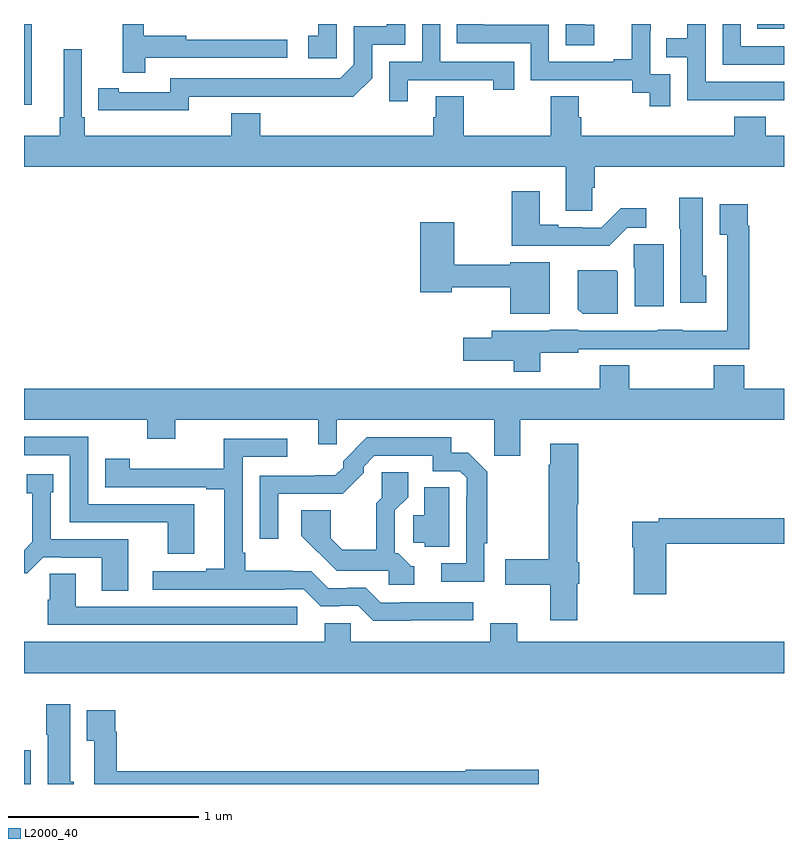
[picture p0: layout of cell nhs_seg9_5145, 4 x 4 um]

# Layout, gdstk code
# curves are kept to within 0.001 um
import gdstk
lib = gdstk.Library(unit=1e-6, precision=1e-09)
def R(c, l, rs):  # rectangles x0, y0, x1, y1
    for r in rs: c.add(gdstk.rectangle(r[:2], r[2:], *l))
def P(c, l, *ps):  # polygons
    for p in ps: c.add(gdstk.Polygon(p, *l))
L2000_40 = (2000, 40)

nhs_seg9_5145 = lib.new_cell('nhs_seg9_5145')
R(nhs_seg9_5145, L2000_40, [(409,1198.5,409.036,1198.677), (409,1202.076,409.042,1202.5), (412.858,1202.474,413,1202.5)])
P(nhs_seg9_5145, L2000_40, [(413,1202.196),(412.587,1202.196),(412.587,1202.5),(412.491,1202.5),(412.491,1202.426),(412.381,1202.426),(412.381,1202.325),(412.491,1202.325),(412.491,1202.1),(412.987,1202.1),(412.987,1202.099),(413,1202.099)],
  [(410.646,1202.5),(410.549,1202.5),(410.549,1202.439),(410.496,1202.439),(410.496,1202.319),(410.646,1202.319)],
  [(412,1202.497),(411.951,1202.497),(411.951,1202.5),(411.852,1202.5),(411.852,1202.388),(412,1202.388)],
  [(411.019,1202.205),(411.47,1202.205),(411.47,1202.154),(411.581,1202.154),(411.581,1202.301),(411.192,1202.301),(411.192,1202.5),(411.096,1202.5),(411.096,1202.301),(410.922,1202.301),(410.922,1202.094),(411.019,1202.094)],
  [(409.866,1202.118),(410.734,1202.117),(410.832,1202.214),(410.832,1202.391),(411.006,1202.391),(411.006,1202.5),(410.909,1202.5),(410.909,1202.487),(410.736,1202.487),(410.736,1202.286),(410.664,1202.214),(409.77,1202.214),(409.77,1202.142),(409.498,1202.142),(409.498,1202.162),(409.39,1202.162),(409.39,1202.046),(409.866,1202.045)],
  [(412.401,1202.235),(412.296,1202.235),(412.296,1202.465),(412.298,1202.465),(412.298,1202.5),(412.199,1202.5),(412.199,1202.314),(412.103,1202.314),(412.103,1202.301),(411.762,1202.301),(411.762,1202.496),(411.417,1202.496),(411.417,1202.5),(411.277,1202.5),(411.277,1202.4),(411.666,1202.4),(411.666,1202.205),(412.2,1202.205),(412.2,1202.137),(412.293,1202.137),(412.293,1202.067),(412.401,1202.067)],
  [(409.637,1202.322),(410.386,1202.322),(410.386,1202.418),(409.853,1202.418),(409.853,1202.438),(409.63,1202.438),(409.63,1202.5),(409.52,1202.5),(409.52,1202.244),(409.637,1202.244)],
  [(413,1202.382),(412.773,1202.382),(412.773,1202.5),(412.677,1202.5),(412.677,1202.286),(413,1202.286)],
  [(411.99,1201.638),(412.004,1201.638),(412.004,1201.748),(413,1201.748),(413,1201.912),(412.904,1201.912),(412.904,1202.011),(412.739,1202.011),(412.739,1201.912),(411.932,1201.912),(411.932,1202.01),(411.919,1202.01),(411.919,1202.12),(411.772,1202.12),(411.772,1201.912),(411.315,1201.912),(411.315,1202.12),(411.167,1202.12),(411.167,1202.01),(411.155,1202.01),(411.155,1201.912),(410.243,1201.912),(410.243,1202.029),(410.09,1202.029),(410.09,1201.912),(409.319,1201.912),(409.319,1202.008),(409.305,1202.008),(409.305,1202.368),(409.208,1202.368),(409.208,1202.008),(409.189,1202.008),(409.189,1201.912),(409,1201.912),(409,1201.748),(411.851,1201.748),(411.851,1201.516),(411.99,1201.516)],
  [(412.176,1201.428),(412.276,1201.428),(412.276,1201.531),(412.141,1201.531),(412.038,1201.428),(411.938,1201.428),(411.938,1201.431),(411.811,1201.431),(411.811,1201.444),(411.715,1201.444),(411.715,1201.621),(411.568,1201.621),(411.568,1201.334),(412.081,1201.334)],
  [(412.591,1201.176),(412.573,1201.176),(412.573,1201.585),(412.448,1201.585),(412.448,1201.422),(412.454,1201.422),(412.454,1201.032),(412.591,1201.032)],
  [(411.718,1200.77),(411.918,1200.77),(411.918,1200.789),(412.335,1200.789),(412.335,1200.788),(412.567,1200.788),(412.567,1200.789),(412.817,1200.789),(412.817,1201.439),(412.81,1201.439),(412.81,1201.552),(412.661,1201.552),(412.661,1201.391),(412.701,1201.391),(412.701,1200.886),(412.467,1200.886),(412.467,1200.892),(412.335,1200.892),(412.335,1200.885),(411.918,1200.885),(411.918,1200.892),(411.768,1200.892),(411.768,1200.886),(411.461,1200.886),(411.461,1200.85),(411.312,1200.85),(411.312,1200.728),(411.577,1200.728),(411.577,1200.671),(411.718,1200.671)],
  [(411.766,1201.246),(411.56,1201.246),(411.56,1201.232),(411.264,1201.232),(411.264,1201.456),(411.086,1201.456),(411.086,1201.088),(411.252,1201.088),(411.252,1201.114),(411.56,1201.114),(411.56,1200.974),(411.766,1200.974)],
  [(412.366,1201.341),(412.21,1201.341),(412.21,1201.218),(412.214,1201.218),(412.214,1201.014),(412.366,1201.014)],
  [(412.126,1201.196),(412.118,1201.204),(411.914,1201.204),(411.914,1201),(411.94,1200.974),(412.126,1200.974)],
  [(411.613,1200.416),(413,1200.416),(413,1200.58),(412.79,1200.58),(412.79,1200.704),(412.63,1200.704),(412.63,1200.58),(412.185,1200.58),(412.185,1200.704),(412.03,1200.704),(412.03,1200.58),(409,1200.58),(409,1200.416),(409.648,1200.416),(409.648,1200.317),(409.795,1200.317),(409.795,1200.416),(410.549,1200.416),(410.549,1200.287),(410.645,1200.287),(410.645,1200.416),(411.475,1200.416),(411.475,1200.228),(411.613,1200.228)],
  [(409.897,1199.973),(409.338,1199.973),(409.338,1200.327),(409,1200.327),(409,1200.231),(409.242,1200.231),(409.242,1199.877),(409.757,1199.877),(409.757,1199.712),(409.897,1199.712)],
  [(411.423,1199.768),(411.438,1199.768),(411.438,1200.144),(411.338,1200.244),(411.249,1200.244),(411.249,1200.324),(410.804,1200.324),(410.679,1200.199),(410.679,1200.165),(410.638,1200.124),(410.241,1200.123),(410.241,1199.79),(410.337,1199.79),(410.337,1200.027),(410.677,1200.027),(410.787,1200.137),(410.787,1200.171),(410.844,1200.228),(411.15,1200.228),(411.15,1200.147),(411.294,1200.147),(411.33,1200.111),(411.33,1200.011),(411.327,1200.011),(411.327,1199.661),(411.195,1199.661),(411.195,1199.565),(411.423,1199.565)],
  [(411.035,1199.361),(411.364,1199.361),(411.364,1199.457),(410.977,1199.457),(410.977,1199.454),(410.877,1199.454),(410.799,1199.532),(410.702,1199.532),(410.702,1199.529),(410.601,1199.529),(410.511,1199.619),(410.414,1199.619),(410.414,1199.623),(410.164,1199.623),(410.164,1199.716),(410.151,1199.716),(410.151,1200.222),(410.386,1200.222),(410.386,1200.318),(410.05,1200.318),(410.05,1200.16),(409.556,1200.16),(409.556,1200.211),(409.428,1200.211),(409.428,1200.063),(409.958,1200.063),(409.958,1200.051),(410.054,1200.051),(410.054,1199.632),(409.958,1199.632),(409.958,1199.619),(409.677,1199.619),(409.677,1199.523),(410.372,1199.523),(410.372,1199.526),(410.472,1199.526),(410.562,1199.436),(410.66,1199.436),(410.66,1199.439),(410.76,1199.439),(410.839,1199.36)],
  [(411.912,1199.553),(411.922,1199.553),(411.922,1199.667),(411.912,1199.667),(411.912,1199.973),(411.917,1199.973),(411.917,1200.292),(411.77,1200.292),(411.77,1200.179),(411.763,1200.179),(411.763,1199.684),(411.534,1199.684),(411.534,1199.549),(411.77,1199.549),(411.77,1199.361),(411.912,1199.361)],
  [(411.055,1199.646),(411.039,1199.646),(410.97,1199.715),(410.952,1199.715),(410.952,1199.94),(411.022,1200.01),(411.022,1200.142),(410.883,1200.142),(410.883,1200.007),(410.854,1199.978),(410.854,1199.733),(410.675,1199.733),(410.614,1199.794),(410.614,1199.942),(410.46,1199.942),(410.46,1199.806),(410.645,1199.622),(410.919,1199.622),(410.919,1199.55),(411.055,1199.55)],
  [(409.549,1199.787),(409.14,1199.787),(409.14,1200.036),(409.153,1200.036),(409.153,1200.129),(409.014,1200.129),(409.014,1200.031),(409.044,1200.031),(409.044,1199.775),(409,1199.731),(409,1199.61),(409.017,1199.61),(409.101,1199.694),(409.195,1199.694),(409.195,1199.691),(409.409,1199.691),(409.409,1199.518),(409.549,1199.518)],
  [(411.237,1200.062),(411.107,1200.062),(411.107,1199.915),(411.048,1199.915),(411.048,1199.769),(411.108,1199.769),(411.108,1199.75),(411.237,1199.75)],
  [(412.379,1199.764),(413,1199.764),(413,1199.9),(412.342,1199.9),(412.342,1199.88),(412.201,1199.88),(412.201,1199.747),(412.208,1199.747),(412.208,1199.499),(412.379,1199.499)],
  [(410.437,1199.433),(409.273,1199.433),(409.273,1199.606),(409.135,1199.606),(409.135,1199.469),(409.126,1199.469),(409.126,1199.337),(410.437,1199.337)],
  [(413,1199.248),(411.595,1199.248),(411.595,1199.347),(411.455,1199.347),(411.455,1199.248),(410.721,1199.248),(410.721,1199.346),(410.582,1199.346),(410.582,1199.248),(409,1199.248),(409,1199.084),(413,1199.084)],
  [(409.261,1198.512),(409.243,1198.512),(409.243,1198.921),(409.118,1198.921),(409.118,1198.758),(409.124,1198.758),(409.124,1198.5),(409.261,1198.5)],
  [(411.709,1198.574),(411.324,1198.574),(411.324,1198.568),(409.487,1198.568),(409.487,1198.775),(409.48,1198.775),(409.48,1198.888),(409.331,1198.888),(409.331,1198.727),(409.371,1198.727),(409.371,1198.5),(411.709,1198.5)])

lib.write_gds('nhs_seg9_5145.gds')
